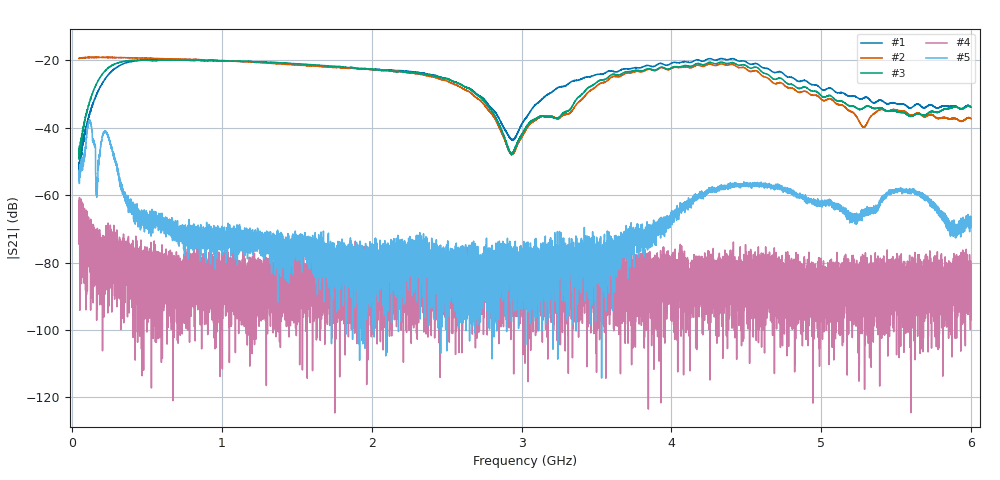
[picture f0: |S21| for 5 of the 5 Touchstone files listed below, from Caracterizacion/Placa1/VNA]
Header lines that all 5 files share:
!Agilent Technologies,E8364A,US41440144,A.06.04.32
!Agilent E8364A: A.06.04.32
!Correction: S11(Full 2 Port(1,2)) S21(Full 2 Port(1,2)) S12(Full 2 Port(1,2)) S22(Full 2 Port(1,2))
!S2P File: Measurements: S11, S21, S12, S22:
# Hz S  dB  R 50
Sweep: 45 MHz to 6 GHz
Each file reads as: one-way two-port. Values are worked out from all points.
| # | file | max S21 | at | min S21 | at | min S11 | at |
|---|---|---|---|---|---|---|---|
| 1 | LNA1.s2p | -19.42 dB | 4.33 GHz | -54.5 dB | 47.23 MHz | -37.7 dB | 4.145 GHz |
| 2 | LNA1_bobinaCambiada_Capsp1nf.s2p | -19.06 dB | 113.1 MHz | -48.1 dB | 2.933 GHz | -45.2 dB | 452.5 MHz |
| 3 | LNA1_preConector.s2p | -19.86 dB | 616.3 MHz | -49.3 dB | 46.49 MHz | -15.5 dB | 4.191 GHz |
| 4 | MixRF.s2p | -60.68 dB | 48.72 MHz | -124.6 dB | 1.753 GHz | -31.9 dB | 5.734 GHz |
| 5 | MixRF_MixLO.s2p | -37.73 dB | 117.2 MHz | -114.2 dB | 3.534 GHz | -22.3 dB | 5.715 GHz |
